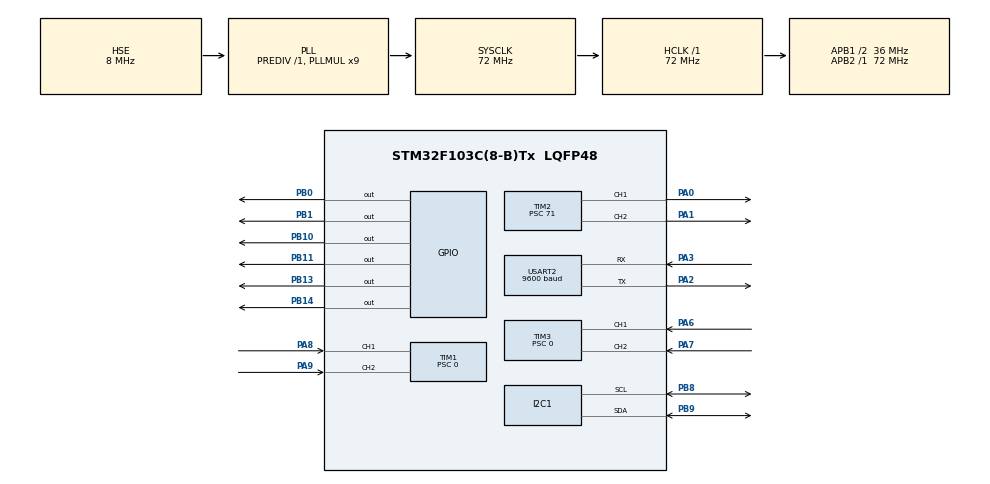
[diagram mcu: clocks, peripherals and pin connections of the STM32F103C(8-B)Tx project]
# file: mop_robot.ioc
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Mcu.Family=STM32F1
Mcu.Name=STM32F103C(8-B)Tx
Mcu.Package=LQFP48
NVIC.PriorityGroup=NVIC_PRIORITYGROUP_4
NVIC.TIM1_UP_IRQn=true\:0\:0\:true\:false\:true\:true\:true
NVIC.TIM2_IRQn=true\:0\:0\:false\:false\:true\:true\:true
NVIC.TIM3_IRQn=true\:0\:0\:false\:false\:true\:true\:true
NVIC.TIM4_IRQn=true\:1\:0\:true\:false\:true\:true\:true
NVIC.USART2_IRQn=true\:0\:0\:false\:false\:true\:true\:true
PA0-WKUP.Signal=S_TIM2_CH1_ETR
PA1.Signal=S_TIM2_CH2
PA13.Mode=Serial_Wire
PA13.Signal=SYS_JTMS-SWDIO
PA14.Mode=Serial_Wire
PA14.Signal=SYS_JTCK-SWCLK
PA2.Mode=Asynchronous
PA2.Signal=USART2_TX
PA3.Mode=Asynchronous
PA3.Signal=USART2_RX
PA6.Signal=S_TIM3_CH1
PA7.Signal=S_TIM3_CH2
PA8.Signal=S_TIM1_CH1
PA9.Signal=S_TIM1_CH2
PB0.Signal=GPIO_Output
PB1.Signal=GPIO_Output
PB10.GPIO_PuPd=GPIO_PULLUP
PB10.Signal=GPIO_Output
PB11.GPIO_PuPd=GPIO_PULLUP
PB11.Signal=GPIO_Output
PB13.Signal=GPIO_Output
PB14.Signal=GPIO_Output
PB8.Mode=I2C
PB8.Signal=I2C1_SCL
PB9.Mode=I2C
PB9.Signal=I2C1_SDA
PD0-OSC_IN.Mode=HSE-External-Oscillator
PD0-OSC_IN.Signal=RCC_OSC_IN
PD1-OSC_OUT.Mode=HSE-External-Oscillator
PD1-OSC_OUT.Signal=RCC_OSC_OUT
ProjectManager.HeapSize=0x800
ProjectManager.StackSize=0x1600
ProjectManager.TargetToolchain=SW4STM32
RCC.AHBFreq_Value=72000000
RCC.APB1CLKDivider=RCC_HCLK_DIV2
RCC.APB1Freq_Value=36000000
RCC.APB1TimFreq_Value=72000000
RCC.APB2Freq_Value=72000000
RCC.APB2TimFreq_Value=72000000
RCC.HCLKFreq_Value=72000000
RCC.PLLMUL=RCC_PLL_MUL9
RCC.PLLSourceVirtual=RCC_PLLSOURCE_HSE
RCC.SYSCLKFreq_VALUE=72000000
RCC.SYSCLKSource=RCC_SYSCLKSOURCE_PLLCLK
RCC.USBFreq_Value=72000000
SH.S_TIM1_CH1.0=TIM1_CH1,Encoder_Interface
SH.S_TIM1_CH2.0=TIM1_CH2,Encoder_Interface
SH.S_TIM2_CH1_ETR.0=TIM2_CH1,PWM Generation1 CH1
SH.S_TIM2_CH2.0=TIM2_CH2,PWM Generation2 CH2
SH.S_TIM3_CH1.0=TIM3_CH1,Encoder_Interface
SH.S_TIM3_CH2.0=TIM3_CH2,Encoder_Interface
TIM1.EncoderMode=TIM_ENCODERMODE_TI12
TIM1.IC1Filter=10
TIM1.IC2Filter=10
TIM1.Period=65535
TIM1.Prescaler=0
TIM2.Channel-PWM\ Generation1\ CH1=TIM_CHANNEL_1
TIM2.Channel-PWM\ Generation2\ CH2=TIM_CHANNEL_2
TIM2.Period=7999
TIM2.Prescaler=71
TIM2.Pulse-PWM\ Generation1\ CH1=4000
TIM2.Pulse-PWM\ Generation2\ CH2=4000
TIM3.EncoderMode=TIM_ENCODERMODE_TI12
TIM3.IC1Filter=10
TIM3.IC2Filter=10
TIM3.Period=65535
TIM3.Prescaler=0
TIM4.Period=55536
TIM4.Prescaler=71
USART2.BaudRate=9600
USART2.VirtualMode=VM_ASYNC
VP_TIM4_VS_ClockSourceINT.Mode=Internal
board=custom

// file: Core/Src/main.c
/* USER CODE BEGIN Header */
/**
  ******************************************************************************
  * @file           : main.c
  * @brief          : Main program body
  ******************************************************************************
  * @attention
  *
  * <h2><center>&copy; Copyright (c) 2022 STMicroelectronics.
  * All rights reserved.</center></h2>
  *
  * This software component is licensed by ST under BSD 3-Clause license,
  * the "License"; You may not use this file except in compliance with the
  * License. You may obtain a copy of the License at:
  *                        opensource.org/licenses/BSD-3-Clause
  *
  ******************************************************************************
  */
/* USER CODE END Header */
#include "main.h"
#include "i2c.h"
#include "tim.h"
#include "usart.h"
#include "gpio.h"

/* USER CODE BEGIN Includes */
#include "oled.h"
#include "motor.h"
#include "stdio.h"
#include "MPU6050.h"
#include "rs100.h"
#include "pid.h"
/* USER CODE END Includes */

/* USER CODE BEGIN PV */
extern uint64_t Data;
extern double row;
extern double yaw;
unsigned char left_flag = 1,right_flag = 0;
/* USER CODE END PV */

void SystemClock_Config(void);

int main(void)
{

  /* MCU Configuration--------------------------------------------------------*/

  /* Reset of all peripherals, Initializes the Flash interface and the Systick. */
  HAL_Init();

  /* Configure the system clock */
  SystemClock_Config();

  /* Initialize all configured peripherals */
  MX_GPIO_Init();
  MX_I2C1_Init();
  MX_TIM1_Init();
  MX_TIM2_Init();
  MX_TIM3_Init();
  MX_USART2_UART_Init();
  MX_TIM4_Init();
  /* USER CODE BEGIN 2 */
  HAL_TIM_Base_Start_IT(&htim4);  //开启定时器四中断
  pid_init_left();  //PID初始化
  pid_init_right();
  motor_straight(130.0); //电机先走直线
  run_motor();
  OLED_Init();  //OLED初始化
  OLED_Clear();
  MPU_Init(); //陀螺仪初始化
  /* USER CODE END 2 */

  /* Infinite loop */
  while (1)
  {

    /* USER CODE BEGIN 3 */
    run_motor();
    RS100_Read(); //测距
    if(Data < 450 && Data > 0)
    {
      if(left_flag == 1) {
        motor_circle_left();
      }
      else if(right_flag == 1){
        motor_circle_right();
      }
    }
    if(Data > 450)
    {
      motor_straight(130.0);
      if(left_flag == 1 && right_flag == 0) {
        left_flag = 0;
        right_flag = 1;
      }
      else{
        left_flag = 1;
        right_flag = 0;
      }
    }
  }
  /* USER CODE END 3 */
}

void SystemClock_Config(void)
{
  RCC_OscInitTypeDef RCC_OscInitStruct = {0};
  RCC_ClkInitTypeDef RCC_ClkInitStruct = {0};

  /** Initializes the RCC Oscillators according to the specified parameters
  * in the RCC_OscInitTypeDef structure.
  */
  RCC_OscInitStruct.OscillatorType = RCC_OSCILLATORTYPE_HSE;
  RCC_OscInitStruct.HSEState = RCC_HSE_ON;
  RCC_OscInitStruct.HSEPredivValue = RCC_HSE_PREDIV_DIV1;
  RCC_OscInitStruct.HSIState = RCC_HSI_ON;
  RCC_OscInitStruct.PLL.PLLState = RCC_PLL_ON;
  RCC_OscInitStruct.PLL.PLLSource = RCC_PLLSOURCE_HSE;
  RCC_OscInitStruct.PLL.PLLMUL = RCC_PLL_MUL9;
  if (HAL_RCC_OscConfig(&RCC_OscInitStruct) != HAL_OK)
  {
    Error_Handler();
  }
  /** Initializes the CPU, AHB and APB buses clocks
  */
  RCC_ClkInitStruct.ClockType = RCC_CLOCKTYPE_HCLK|RCC_CLOCKTYPE_SYSCLK
                              |RCC_CLOCKTYPE_PCLK1|RCC_CLOCKTYPE_PCLK2;
  RCC_ClkInitStruct.SYSCLKSource = RCC_SYSCLKSOURCE_PLLCLK;
  RCC_ClkInitStruct.AHBCLKDivider = RCC_SYSCLK_DIV1;
  RCC_ClkInitStruct.APB1CLKDivider = RCC_HCLK_DIV2;
  RCC_ClkInitStruct.APB2CLKDivider = RCC_HCLK_DIV1;

  if (HAL_RCC_ClockConfig(&RCC_ClkInitStruct, FLASH_LATENCY_2) != HAL_OK)
  {
    Error_Handler();
  }
}

void Error_Handler(void)
{
}

/************************ (C) COPYRIGHT STMicroelectronics *****END OF FILE****/
